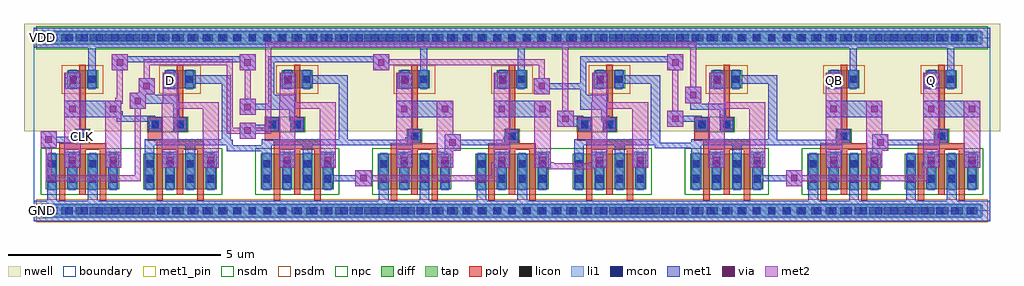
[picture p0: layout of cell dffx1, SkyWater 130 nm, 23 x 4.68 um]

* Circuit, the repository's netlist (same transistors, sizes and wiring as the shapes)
** sch_path: /foss/designs/dffx1.sch
.subckt dffx1 VDD GND CLK D Q QB
*.PININFO VDD:B GND:B CLK:I D:I Q:O QB:O
XM1 D CLK net1 VDD sky130_fd_pr__pfet_01v8 L=0.15 W=0.42 nf=1
XM2 D CLKB net1 GND sky130_fd_pr__nfet_01v8 L=0.15 W=2.52 nf=3
XM3 CLKB CLK VDD VDD sky130_fd_pr__pfet_01v8 L=0.15 W=0.42 nf=1
XM4 CLKB CLK GND GND sky130_fd_pr__nfet_01v8 L=0.15 W=2.52 nf=3
XM14 Q CLKB net4 GND sky130_fd_pr__nfet_01v8 L=0.15 W=2.52 nf=3
XM13 Q CLK net4 VDD sky130_fd_pr__pfet_01v8 L=0.15 W=0.42 nf=1
XM7 net3 net1 VDD VDD sky130_fd_pr__pfet_01v8 L=0.15 W=0.42 nf=1
XM8 net3 net1 GND GND sky130_fd_pr__nfet_01v8 L=0.15 W=2.52 nf=3
XM17 net2 net3 VDD VDD sky130_fd_pr__pfet_01v8 L=0.15 W=0.42 nf=1
XM6 net2 net3 GND GND sky130_fd_pr__nfet_01v8 L=0.15 W=2.52 nf=3
XM9 QB net4 VDD VDD sky130_fd_pr__pfet_01v8 L=0.15 W=0.42 nf=1
XM10 QB net4 GND GND sky130_fd_pr__nfet_01v8 L=0.15 W=2.52 nf=3
XM11 Q QB VDD VDD sky130_fd_pr__pfet_01v8 L=0.15 W=0.42 nf=1
XM12 Q QB GND GND sky130_fd_pr__nfet_01v8 L=0.15 W=2.52 nf=3
XM5 net2 CLK net4 GND sky130_fd_pr__nfet_01v8 L=0.15 W=2.52 nf=3
XM18 net2 CLKB net4 VDD sky130_fd_pr__pfet_01v8 L=0.15 W=0.42 nf=1
XM15 net2 CLKB net1 VDD sky130_fd_pr__pfet_01v8 L=0.15 W=0.42 nf=1
XM16 net2 CLK net1 GND sky130_fd_pr__nfet_01v8 L=0.15 W=2.52 nf=3
.ends

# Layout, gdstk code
import gdstk
lib = gdstk.Library(unit=1e-6, precision=1e-09)
def R(c, l, rs):  # rectangles x0, y0, x1, y1
    for r in rs: c.add(gdstk.rectangle(r[:2], r[2:], *l))
def A(c, l, x, y, w, h, nx, ny, dx, dy):  # array of equal rectangles
    R(c, l, [(x+i*dx, y+j*dy, x+i*dx+w, y+j*dy+h) for i in range(nx) for j in range(ny)])
nwell = (64, 20)
diff = (65, 20)
tap = (65, 44)
poly = (66, 20)
licon = (66, 44)
li1 = (67, 20)
mcon = (67, 44)
met1_pin = (68, 16)
met1 = (68, 20)
via = (68, 44)
met2 = (69, 20)
nsdm = (93, 44)
psdm = (94, 20)
npc = (95, 20)
boundary = (235, 4)

sky130_fd_pr__nfet_01v8_ = lib.new_cell('sky130_fd_pr__nfet_01v8_RPKUUV')
R(sky130_fd_pr__nfet_01v8_, diff, [(-0.865,-0.42,0.865,0.42)])
R(sky130_fd_pr__nfet_01v8_, poly, [(-0.555,-0.695,-0.405,0.55), (0.405,-0.695,0.555,0.55), (-0.075,-0.55,0.075,0.695)])
A(sky130_fd_pr__nfet_01v8_, licon, -0.805, -0.255, 0.17, 0.17, 4, 2, 0.48, 0.34)
A(sky130_fd_pr__nfet_01v8_, li1, -0.805, -0.44, 0.17, 0.88, 4, 1, 0.48, 0)
A(sky130_fd_pr__nfet_01v8_, mcon, -0.805, -0.265, 0.17, 0.17, 4, 2, 0.48, 0.36)
A(sky130_fd_pr__nfet_01v8_, met1, -0.835, -0.42, 0.23, 0.84, 4, 1, 0.48, 0)
R(sky130_fd_pr__nfet_01v8_, nsdm, [(-0.99,-0.545,0.99,0.545)])
sky130_fd_pr__nfet_01v8_.add(gdstk.Label('D0', (-0.72,0), layer=67, texttype=5))
sky130_fd_pr__nfet_01v8_.add(gdstk.Label('S1', (-0.24,0), layer=67, texttype=5))
sky130_fd_pr__nfet_01v8_.add(gdstk.Label('D2', (0.24,0), layer=67, texttype=5))
sky130_fd_pr__nfet_01v8_.add(gdstk.Label('S2', (0.72,0), layer=67, texttype=5))

sky130_fd_pr__pfet_01v8_ = lib.new_cell('sky130_fd_pr__pfet_01v8_YNU6YZ')
R(sky130_fd_pr__pfet_01v8_, nwell, [(-0.545,-0.52,0.545,0.52)])
R(sky130_fd_pr__pfet_01v8_, diff, [(-0.365,-0.21,0.365,0.21)])
R(sky130_fd_pr__pfet_01v8_, poly, [(-0.075,-0.34,0.075,0.34)])
R(sky130_fd_pr__pfet_01v8_, licon, [(-0.305,-0.085,-0.135,0.085), (0.135,-0.085,0.305,0.085)])
R(sky130_fd_pr__pfet_01v8_, li1, [(-0.305,-0.23,-0.135,0.23), (0.135,-0.23,0.305,0.23)])
R(sky130_fd_pr__pfet_01v8_, mcon, [(-0.305,-0.085,-0.135,0.085), (0.135,-0.085,0.305,0.085)])
R(sky130_fd_pr__pfet_01v8_, met1, [(-0.335,-0.21,-0.105,0.21), (0.105,-0.21,0.335,0.21)])
R(sky130_fd_pr__pfet_01v8_, psdm, [(-0.49,-0.335,0.49,0.335)])
sky130_fd_pr__pfet_01v8_.add(gdstk.Label('D', (-0.22,0), layer=67, texttype=5))
sky130_fd_pr__pfet_01v8_.add(gdstk.Label('S', (0.22,0), layer=67, texttype=5))

dffx1 = lib.new_cell('dffx1')
R(dffx1, nwell, [(-0.23,1.87,22.77,4.41)])
R(dffx1, tap, [(0.18,-0.145,22.36,0.145), (0.18,3.935,22.36,4.225)])
R(dffx1, poly, [(0.595,1.44,1.705,1.59), (2.895,1.44,4.005,1.65), (5.655,1.44,6.765,1.65), (8.415,1.44,9.525,1.59), (10.715,1.44,11.825,1.59), (13.015,1.44,14.125,1.65), (15.775,1.44,16.885,1.65), (18.535,1.44,19.645,1.59), (20.835,1.44,21.945,1.59), (0.985,1.59,1.315,1.92), (8.805,1.59,9.135,1.92), (11.105,1.59,11.435,1.92), (18.925,1.59,19.255,1.92), (21.225,1.59,21.555,1.92), (2.685,1.65,3.045,2.2), (5.445,1.65,5.805,2.2), (12.805,1.65,13.165,2.2), (15.565,1.65,15.925,2.2), (3.285,1.87,3.615,2.2), (6.045,1.87,6.375,2.2), (13.405,1.87,13.735,2.2), (16.165,1.87,16.495,2.2), (1.075,1.92,1.225,2.95), (8.895,1.92,9.045,2.95), (11.195,1.92,11.345,2.95), (19.015,1.92,19.165,2.95), (21.315,1.92,21.465,2.95), (3.375,2.2,3.525,2.95), (6.135,2.2,6.285,2.95), (13.495,2.2,13.645,2.95), (16.255,2.2,16.405,2.95)])
A(dffx1, licon, 0.305, -0.085, 0.17, 0.17, 65, 2, 0.34, 4.08)
R(dffx1, licon, [(1.065,1.67,1.235,1.84), (8.885,1.67,9.055,1.84), (11.185,1.67,11.355,1.84), (19.005,1.67,19.175,1.84), (21.305,1.67,21.475,1.84), (2.78,1.95,2.95,2.12), (3.365,1.95,3.535,2.12), (5.54,1.95,5.71,2.12), (6.125,1.95,6.295,2.12), (12.9,1.95,13.07,2.12), (13.485,1.95,13.655,2.12), (15.66,1.95,15.83,2.12), (16.245,1.95,16.415,2.12)])
R(dffx1, li1, [(0.21,-0.165,22.33,0.165), (0.985,1.66,1.315,1.85), (8.805,1.66,9.135,1.85), (11.105,1.66,11.435,1.85), (18.925,1.66,19.255,1.85), (21.225,1.66,21.555,1.85), (2.7,1.94,3.03,2.13), (3.285,1.94,3.615,2.13), (5.46,1.94,5.79,2.13), (6.045,1.94,6.375,2.13), (12.82,1.94,13.15,2.13), (13.405,1.94,13.735,2.13), (15.58,1.94,15.91,2.13), (16.165,1.94,16.495,2.13), (0.21,3.915,22.33,4.245)])
A(dffx1, mcon, 0.385, -0.085, 0.17, 0.17, 61, 2, 0.36, 4.08)
R(dffx1, mcon, [(1.065,1.67,1.235,1.84), (8.885,1.67,9.055,1.84), (11.185,1.67,11.355,1.84), (19.005,1.67,19.175,1.84), (21.305,1.67,21.475,1.84), (2.78,1.95,2.95,2.12), (3.365,1.95,3.535,2.12), (5.54,1.95,5.71,2.12), (6.125,1.95,6.295,2.12), (12.9,1.95,13.07,2.12), (13.485,1.95,13.655,2.12), (15.66,1.95,15.83,2.12), (16.245,1.95,16.415,2.12)])
R(dffx1, met1_pin, [(0.05,-0.18,0.35,0.18), (1,1.6,1.3,1.92), (3.05,2.88,3.41,3.26), (18.68,2.88,19.04,3.26), (20.98,2.88,21.34,3.26), (0.05,3.9,0.35,4.26)])
R(dffx1, met1, [(0,-0.24,22.54,0.24), (0.315,0.24,0.545,0.6), (1.275,0.24,1.505,0.6), (8.135,0.24,8.365,0.6), (9.095,0.24,9.325,0.6), (10.435,0.24,10.665,0.6), (11.395,0.24,11.625,0.6), (18.255,0.24,18.485,0.6), (19.215,0.24,19.445,0.6), (20.555,0.24,20.785,0.6), (21.515,0.24,21.745,0.6), (7.58,0.58,7.96,0.7), (17.73,0.58,18.11,0.7), (6.93,0.7,7.96,0.84), (17.08,0.7,18.11,0.84), (7.58,0.84,7.96,0.96), (17.73,0.84,18.11,0.96), (0.72,1.01,1.1,1.39), (1.68,1.01,2.06,1.39), (3.02,1.01,3.4,1.39), (3.98,1.01,4.36,1.39), (5.78,1.01,6.16,1.39), (6.74,1.01,7.12,1.39), (8.54,1.01,8.92,1.39), (9.5,1.01,9.88,1.39), (10.84,1.01,11.22,1.39), (11.8,1.01,12.18,1.39), (13.14,1.01,13.52,1.39), (14.1,1.01,14.48,1.39), (15.9,1.01,16.28,1.39), (16.86,1.01,17.24,1.39), (18.66,1.01,19.04,1.39), (19.62,1.01,20,1.39), (20.96,1.01,21.34,1.39), (21.92,1.01,22.3,1.39), (2.615,1.25,2.845,1.54), (3.575,1.25,3.805,1.54), (5.375,1.25,5.605,1.4), (6.335,1.25,6.565,1.54), (12.735,1.25,12.965,1.54), (13.695,1.25,13.925,1.54), (15.495,1.25,15.725,1.47), (16.455,1.25,16.685,1.54), (9.68,1.39,9.88,1.42), (19.76,1.39,20,1.42), (4.55,1.4,5.605,1.54), (9.68,1.42,10.06,1.54), (19.76,1.42,20.14,1.54), (14.63,1.47,15.725,1.54), (0.16,1.49,0.54,1.61), (2.615,1.54,4.69,1.68), (5.375,1.54,8.89,1.6), (9.68,1.54,11.2,1.6), (12.735,1.54,19.04,1.6), (19.76,1.54,21.35,1.6), (1,1.6,1.3,1.61), (5.375,1.6,9.12,1.68), (9.68,1.6,11.42,1.68), (12.735,1.6,19.24,1.61), (19.76,1.6,21.54,1.68), (0.16,1.61,1.3,1.75), (12.735,1.61,14.765,1.69), (15.495,1.61,19.24,1.68), (2.615,1.68,4.645,1.69), (5.375,1.68,7.405,1.69), (8.75,1.68,9.12,1.74), (9.68,1.68,10.06,1.8), (11.06,1.68,11.42,1.74), (15.495,1.68,17.525,1.69), (18.9,1.68,19.24,1.74), (19.76,1.68,20.14,1.8), (21.21,1.68,21.54,1.74), (4.425,1.69,4.645,3), (7.185,1.69,7.405,3), (14.545,1.69,14.765,3), (17.305,1.69,17.525,3), (4.85,1.7,5.23,1.89), (8.82,1.74,9.12,1.92), (11.12,1.74,11.42,1.92), (18.94,1.74,19.24,1.92), (21.24,1.74,21.54,1.92), (0.16,1.75,0.54,1.87), (1,1.75,1.3,1.92), (2.715,1.87,3.015,2.1), (3.3,1.87,3.6,2.1), (5.475,1.87,5.775,1.89), (6.06,1.87,6.36,2.1), (12.835,1.87,13.135,1.98), (13.42,1.87,13.72,2.1), (15.595,1.87,15.895,2.1), (16.18,1.87,16.48,2.1), (4.85,1.89,5.775,2.03), (12.34,1.98,13.135,2.2), (14.93,1.98,15.31,2.1), (4.85,2.03,5.23,2.08), (5.475,2.03,5.775,2.2), (1.96,2.1,3.015,2.2), (3.29,2.1,3.6,2.2), (6.02,2.1,6.36,2.2), (13.37,2.1,13.72,2.2), (14.93,2.1,15.895,2.2), (16.17,2.1,16.48,2.2), (1.96,2.2,2.86,2.21), (3.29,2.2,3.44,2.24), (6.02,2.2,6.2,2.24), (12.34,2.2,12.95,2.24), (13.37,2.2,13.56,2.24), (14.93,2.2,15.74,2.24), (16.17,2.2,16.32,2.24), (0.72,2.21,2.86,2.24), (8.54,2.21,9.88,2.59), (10.84,2.21,12.18,2.59), (18.66,2.21,20,2.59), (20.96,2.21,22.3,2.59), (0.72,2.24,2.1,2.35), (3.29,2.24,3.43,2.52), (6.02,2.24,6.16,2.38), (12.34,2.24,12.72,2.36), (13.37,2.24,13.51,2.38), (14.93,2.24,15.31,2.36), (16.17,2.24,16.31,2.38), (4.85,2.26,5.23,2.38), (0.72,2.35,2.06,2.59), (4.85,2.38,6.16,2.52), (12.88,2.38,13.51,2.73), (15.47,2.38,16.31,2.52), (2.26,2.4,2.64,2.52), (2.26,2.52,3.43,2.73), (4.85,2.52,5.23,2.64), (5.53,2.52,6.16,2.73), (15.47,2.52,15.73,2.54), (15.35,2.54,15.73,2.92), (2.26,2.73,2.85,2.78), (5.53,2.73,5.67,3.5), (12.88,2.73,13.02,2.87), (11.78,2.75,12.16,2.87), (2.47,2.78,2.85,3.13), (11.78,2.87,13.02,3.01), (0.74,2.88,1.1,3.26), (3.05,2.88,3.41,3.26), (5.81,2.88,6.17,3.26), (8.56,2.88,8.92,3.26), (10.86,2.88,11.22,3.26), (13.17,2.88,13.53,3.26), (15.93,2.88,16.29,3.26), (18.68,2.88,19.04,3.26), (20.98,2.88,21.34,3.26), (3.555,3,4.645,3.2), (6.315,3,7.405,3.2), (13.675,3,14.765,3.2), (16.435,3,17.525,3.2), (11.78,3.01,12.16,3.13), (12.88,3.01,13.02,3.5), (1.285,3.25,1.455,3.84), (9.105,3.25,9.275,3.84), (11.405,3.25,11.575,3.84), (19.225,3.25,19.395,3.84), (21.525,3.25,21.695,3.84), (1.84,3.31,2.22,3.5), (4.85,3.31,5.23,3.5), (8,3.31,8.38,3.5), (14.93,3.31,15.31,3.5), (1.84,3.5,5.23,3.64), (5.53,3.5,8.38,3.64), (12.88,3.5,15.31,3.64), (1.84,3.64,2.22,3.69), (4.85,3.64,5.23,3.69), (8,3.64,8.38,3.69), (14.93,3.64,15.31,3.69), (0,3.84,22.54,4.32)])
R(dffx1, via, [(7.695,0.695,7.845,0.845), (17.845,0.695,17.995,0.845), (0.835,1.125,0.985,1.275), (1.795,1.125,1.945,1.275), (3.135,1.125,3.285,1.275), (4.095,1.125,4.245,1.275), (5.895,1.125,6.045,1.275), (6.855,1.125,7.005,1.275), (8.655,1.125,8.805,1.275), (9.615,1.125,9.765,1.275), (10.955,1.125,11.105,1.275), (11.915,1.125,12.065,1.275), (13.255,1.125,13.405,1.275), (14.215,1.125,14.365,1.275), (16.015,1.125,16.165,1.275), (16.975,1.125,17.125,1.275), (18.775,1.125,18.925,1.275), (19.735,1.125,19.885,1.275), (21.075,1.125,21.225,1.275), (22.035,1.125,22.185,1.275), (9.795,1.535,9.945,1.685), (19.875,1.535,20.025,1.685), (0.275,1.605,0.425,1.755), (4.965,1.815,5.115,1.965), (12.455,2.095,12.605,2.245), (15.045,2.095,15.195,2.245), (0.835,2.325,0.985,2.475), (1.795,2.325,1.945,2.475), (8.655,2.325,8.805,2.475), (9.615,2.325,9.765,2.475), (10.955,2.325,11.105,2.475), (11.915,2.325,12.065,2.475), (18.775,2.325,18.925,2.475), (19.735,2.325,19.885,2.475), (21.075,2.325,21.225,2.475), (22.035,2.325,22.185,2.475), (4.965,2.375,5.115,2.525), (2.375,2.515,2.525,2.665), (15.465,2.655,15.615,2.805), (2.585,2.865,2.735,3.015), (11.895,2.865,12.045,3.015), (0.845,2.995,0.995,3.145), (3.155,2.995,3.305,3.145), (5.915,2.995,6.065,3.145), (8.665,2.995,8.815,3.145), (10.965,2.995,11.115,3.145), (13.275,2.995,13.425,3.145), (16.035,2.995,16.185,3.145), (18.785,2.995,18.935,3.145), (21.085,2.995,21.235,3.145), (1.955,3.425,2.105,3.575), (4.965,3.425,5.115,3.575), (8.115,3.425,8.265,3.575), (15.045,3.425,15.195,3.575)])
R(dffx1, met2, [(7.58,0.58,7.96,0.7), (17.73,0.58,18.11,0.7), (0.28,0.7,2.52,0.84), (7.58,0.7,10.92,0.84), (17.73,0.7,21.07,0.84), (0.28,0.84,0.42,1.49), (2.38,0.84,2.52,2.4), (7.58,0.84,7.96,0.96), (10.78,0.84,10.92,1.01), (17.73,0.84,18.11,0.96), (20.93,0.84,21.07,1.01), (12.11,0.98,13.23,1.01), (0.72,1.01,1.11,3.26), (1.68,1.01,2.06,2.52), (3.02,1.01,3.4,2.4), (3.98,1.01,4.36,2.4), (5.78,1.01,6.16,2.4), (6.74,1.01,7.12,2.4), (8.54,1.01,8.93,3.26), (9.5,1.01,9.88,1.42), (10.78,1.01,11.23,1.15), (11.8,1.01,13.52,1.12), (14.1,1.01,14.48,2.4), (15.9,1.01,16.28,2.4), (16.86,1.01,17.24,2.4), (18.66,1.01,19.05,3.26), (19.62,1.01,20,1.42), (20.93,1.01,21.35,1.15), (21.92,1.01,22.3,2.59), (11.8,1.12,12.25,1.15), (13.09,1.12,13.52,1.15), (10.84,1.15,11.23,3.26), (11.8,1.15,12.18,2.59), (13.14,1.15,13.52,2.4), (20.96,1.15,21.35,3.26), (9.5,1.42,10.06,1.8), (19.62,1.42,20.14,1.8), (0.16,1.49,0.54,1.87), (4.85,1.7,5.23,1.82), (9.5,1.8,9.88,2.59), (19.62,1.8,20,2.59), (4.55,1.82,5.6,1.96), (4.55,1.96,4.69,3.43), (4.85,1.96,5.23,2.08), (5.46,1.96,5.6,3.85), (12.34,1.98,12.72,2.36), (14.93,1.98,15.31,2.36), (4.85,2.26,5.23,2.64), (12.46,2.36,12.6,3.85), (15.05,2.36,15.19,3.31), (2.26,2.4,2.64,2.75), (3.02,2.4,4.36,2.56), (5.78,2.4,7.12,2.56), (13.14,2.4,14.48,2.56), (15.9,2.4,17.24,2.56), (1.68,2.52,2.1,2.59), (15.35,2.54,15.73,2.92), (3.04,2.56,3.42,3.26), (5.8,2.56,6.18,3.26), (13.16,2.56,13.54,3.26), (15.92,2.56,16.3,3.26), (1.92,2.59,2.1,2.66), (4.97,2.64,5.11,3.31), (1.96,2.66,2.1,3.31), (2.26,2.75,2.85,2.78), (11.78,2.75,12.16,3.13), (2.47,2.78,2.85,3.13), (15.47,2.92,15.61,3.85), (2.59,3.13,2.73,3.43), (11.9,3.13,12.04,3.43), (1.84,3.31,2.22,3.69), (4.85,3.31,5.23,3.69), (8,3.31,8.38,3.43), (14.93,3.31,15.31,3.69), (2.59,3.43,4.69,3.57), (8,3.43,12.04,3.57), (8,3.57,8.38,3.69), (5.46,3.85,15.61,3.99)])
R(dffx1, nsdm, [(2.14,0.385,2.46,1.475), (9.96,0.385,10.28,1.475), (12.26,0.385,12.58,1.475), (20.08,0.385,20.4,1.475), (0.055,3.81,22.485,4.35)])
R(dffx1, psdm, [(0.055,-0.27,22.485,0.27)])
R(dffx1, npc, [(0.965,1.57,1.335,1.94), (8.785,1.57,9.155,1.94), (11.085,1.57,11.455,1.94), (18.905,1.57,19.275,1.94), (21.205,1.57,21.575,1.94), (2.68,1.85,3.635,2.22), (5.44,1.85,6.395,2.22), (12.8,1.85,13.755,2.22), (15.56,1.85,16.515,2.22)])
R(dffx1, boundary, [(0,0,22.54,4.08)])
dffx1.add(gdstk.Reference(sky130_fd_pr__nfet_01v8_, (1.15,0.93)))
dffx1.add(gdstk.Reference(sky130_fd_pr__pfet_01v8_, (1.15,3.1)))
dffx1.add(gdstk.Reference(sky130_fd_pr__nfet_01v8_, (3.45,0.93)))
dffx1.add(gdstk.Reference(sky130_fd_pr__pfet_01v8_, (3.45,3.1)))
dffx1.add(gdstk.Reference(sky130_fd_pr__nfet_01v8_, (6.21,0.93)))
dffx1.add(gdstk.Reference(sky130_fd_pr__pfet_01v8_, (6.21,3.1)))
dffx1.add(gdstk.Reference(sky130_fd_pr__nfet_01v8_, (8.97,0.93)))
dffx1.add(gdstk.Reference(sky130_fd_pr__pfet_01v8_, (8.97,3.1)))
dffx1.add(gdstk.Reference(sky130_fd_pr__nfet_01v8_, (11.27,0.93)))
dffx1.add(gdstk.Reference(sky130_fd_pr__pfet_01v8_, (11.27,3.1)))
dffx1.add(gdstk.Reference(sky130_fd_pr__nfet_01v8_, (13.57,0.93)))
dffx1.add(gdstk.Reference(sky130_fd_pr__pfet_01v8_, (13.57,3.1)))
dffx1.add(gdstk.Reference(sky130_fd_pr__nfet_01v8_, (16.33,0.93)))
dffx1.add(gdstk.Reference(sky130_fd_pr__pfet_01v8_, (16.33,3.1)))
dffx1.add(gdstk.Reference(sky130_fd_pr__nfet_01v8_, (19.09,0.93)))
dffx1.add(gdstk.Reference(sky130_fd_pr__pfet_01v8_, (19.09,3.1)))
dffx1.add(gdstk.Reference(sky130_fd_pr__nfet_01v8_, (21.39,0.93)))
dffx1.add(gdstk.Reference(sky130_fd_pr__pfet_01v8_, (21.39,3.1)))
dffx1.add(gdstk.Label('CLK', (1.15,1.76), layer=68, texttype=5))
dffx1.add(gdstk.Label('D', (3.23,3.07), layer=68, texttype=5))
dffx1.add(gdstk.Label('QB', (18.86,3.07), layer=68, texttype=5))
dffx1.add(gdstk.Label('Q', (21.16,3.07), layer=68, texttype=5))
dffx1.add(gdstk.Label('VDD', (0.2,4.08), layer=68, texttype=5))
dffx1.add(gdstk.Label('GND', (0.2,0), layer=68, texttype=5))

lib.write_gds('dffx1.gds')
